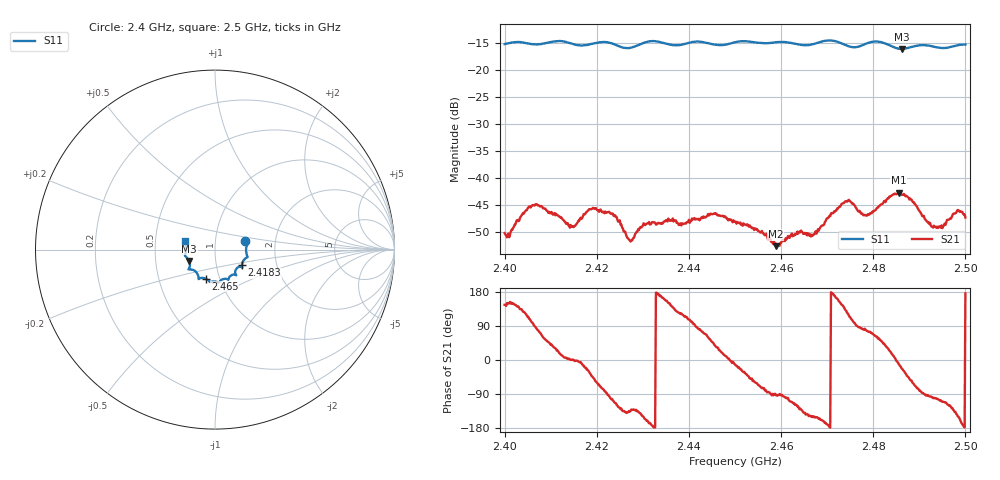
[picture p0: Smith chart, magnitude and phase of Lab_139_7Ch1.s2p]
# Hz S RI R 50
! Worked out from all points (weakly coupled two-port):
!   601 points, 2.4 GHz to 2.5 GHz, reference 50 ohm
!   highest |S21| = -42.70 dB at 2.4855 GHz (marker M1); lowest = -52.6 dB at 2.4588 GHz (marker M2)
!   lowest |S11| = -16.1 dB at 2.4862 GHz (marker M3), VSWR 1.37, Z = 37.2 - j4.86 ohm
!   |S11| at or under -10 dB: start of sweep to end of sweep
!   S12 and S22 are empty: the file has one direction only
!   S11 on the Smith chart (normalised r, x): 2.4 GHz: 1.40, +0.13; 2.4183 GHz: 1.33, -0.24; 2.465 GHz: 0.86, -0.29; 2.5 GHz: 0.71, +0.07
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2.4e9  0.1679 0.0466  -0.00255 0.00175  0 0  0 0
2.4065e9  0.173 0.00324  4.45e-05 0.00556  0 0  0 0
2.4145e9  0.1694 -0.0492  0.00355 9.53e-06  0 0  0 0
2.416667e9  0.155 -0.0678  0.00414 -0.000606  0 0  0 0
2.418333e9  0.1498 -0.0864  0.00441 -0.00266  0 0  0 0
2.423833e9  0.1444 -0.096  -0.00168 -0.0041  0 0  0 0
2.427167e9  0.1175 -0.1094  -0.00191 -0.00183  0 0  0 0
2.4305e9  0.1147 -0.1395  -0.00334 -0.00151  0 0  0 0
2.433333e9  0.1172 -0.1413  -0.00383 0.000344  0 0  0 0
2.445167e9  0.0609 -0.1626  0.00318 0.00336  0 0  0 0
2.45e9  0.0256 -0.1796  0.00384 -0.000837  0 0  0 0
2.458833e9  -0.022 -0.1797  -0.000112 -0.00234  0 0  0 0
2.465e9  -0.0524 -0.1619  -0.00235 -0.002  0 0  0 0
2.466667e9  -0.0709 -0.1576  -0.00253 -0.00157  0 0  0 0
2.474167e9  -0.0954 -0.1399  -0.00386 0.00475  0 0  0 0
2.4785e9  -0.1376 -0.1101  0.000919 0.0044  0 0  0 0
2.483333e9  -0.1415 -0.097  0.00572 0.00307  0 0  0 0
2.4855e9  -0.1409 -0.0714  0.00724 -0.00118  0 0  0 0
2.486167e9  -0.1435 -0.0637  0.00645 -0.00266  0 0  0 0
2.493167e9  -0.1637 -0.0185  -0.000604 -0.00358  0 0  0 0
2.498167e9  -0.1656 0.037  -0.00401 -0.0029  0 0  0 0
2.5e9  -0.1662 0.0472  -0.0043 0.000312  0 0  0 0
